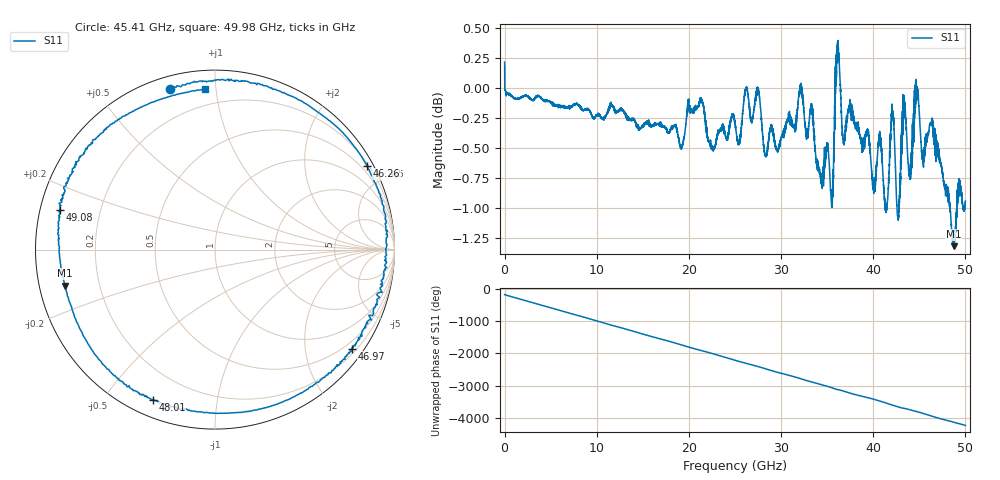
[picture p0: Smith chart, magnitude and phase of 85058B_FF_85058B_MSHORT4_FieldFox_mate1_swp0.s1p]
!Created with skrf (http://scikit-rf.org).
# Hz S RI R 50.0
!freq ReS11 ImS11
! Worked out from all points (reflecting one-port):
!   10001 points, 300 kHz to 50 GHz, reference 50 ohm
!   lowest |S11| = -1.3 dB at 48.73 GHz (marker M1), VSWR 13.21, Z = 3.84 - j5.87 ohm
!   phase of S11 starts at -175 deg and turns -4053 deg over the sweep
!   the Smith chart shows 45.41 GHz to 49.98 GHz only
!   S11 on the Smith chart (normalised r, x): 45.41 GHz: 0.06, +0.76; 46.26 GHz: 0.28, +3.87; 46.97 GHz: 0.31, -3.06; 48.01 GHz: 0.07, -0.66; 49.08 GHz: 0.06, +0.13; 49.98 GHz: 0.10, +0.93
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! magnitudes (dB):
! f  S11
! 300 kHz  0.2
! 6.25 GHz  -0.2
! 12.5 GHz  -0.2
! 18.75 GHz  -0.4
! 25 GHz  -0.3
! 26.23 GHz  0.0
! 31.25 GHz  -0.3
! 32.18 GHz  0.0
! 35.46 GHz  -0.9
! 36.14 GHz  0.3
! 36.78 GHz  -0.5
! 37.5 GHz  -0.2
! 40.06 GHz  -0.8
! 40.74 GHz  -0.4
! 41.38 GHz  -1.0
! 42.07 GHz  -0.2
! 42.68 GHz  -1.1
! 43.31 GHz  -0.1
! 43.75 GHz  -0.6
! 44.72 GHz  -0.1
! 45.41 GHz  -0.6
! 46.26 GHz  -0.3
! 46.97 GHz  -0.5
! 48.01 GHz  -0.9
! 48.73 GHz  -1.3
! 49.08 GHz  -1.0
! 49.98 GHz  -1.0
! 50 GHz  -0.9
